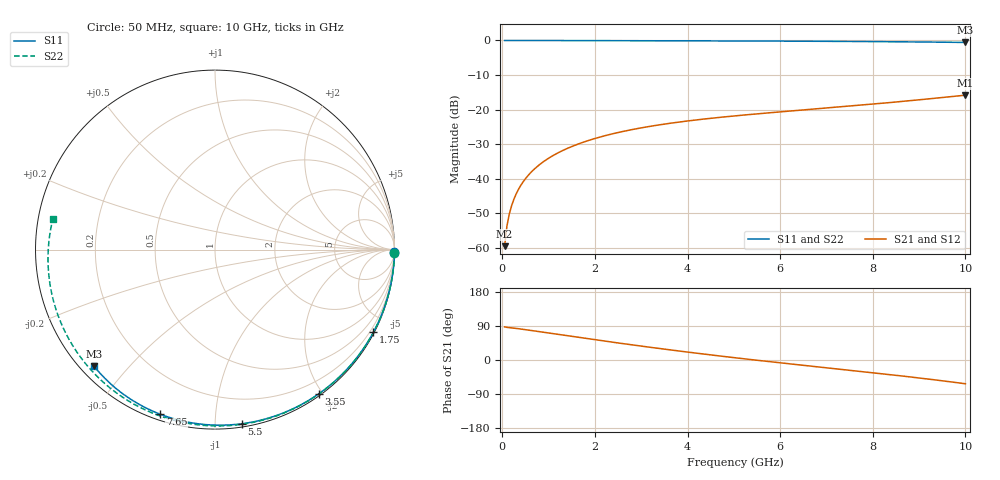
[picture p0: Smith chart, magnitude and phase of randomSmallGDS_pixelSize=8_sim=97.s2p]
! freq	dB(S11)	phase(S11)	dB(S12)	phase(S12)
!  dB(S21)	phase(S21)	dB(S22)	phase(S22)
!S-par simulation data
#  GHz  S  DB  R 50
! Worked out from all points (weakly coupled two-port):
!   200 points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, 50 MHz to 10 GHz, reference 50 ohm
!   highest |S21| = -15.85 dB at 10 GHz (marker M1); lowest = -59.5 dB at 50 MHz (marker M2)
!   lowest |S11| = -0.6 dB at 10 GHz (marker M3), VSWR 30.20, Z = 1.92 - j20.1 ohm
!   |S11| at or under -10 dB: nowhere
!   |S22| runs from -0.7 to 0.0 dB; largest |S21 - S12| = 0
!   S11 on the Smith chart (normalised r, x): 50 MHz: open; 1.75 GHz: 0.04, -4.09; 3.55 GHz: 0.02, -1.95; 5.5 GHz: 0.02, -1.16; 7.65 GHz: 0.03, -0.72; 10 GHz: 0.04, -0.40
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0.05  -0.00 -0.8  -59.55 87.3  -59.55 87.3  -0.00 -1.1
0.1  -0.00 -1.6  -53.72 86.1  -53.72 86.1  -0.00 -2.1
0.15  -0.00 -2.4  -50.31 85.5  -50.31 85.5  -0.00 -3.2
0.2  -0.00 -3.2  -47.87 84.8  -47.87 84.8  -0.00 -4.2
0.25  -0.00 -4.0  -45.97 84.1  -45.97 84.1  -0.00 -5.3
0.35  -0.00 -5.6  -43.08 82.6  -43.08 82.6  -0.01 -7.4
0.5  -0.01 -8.0  -40.02 80.1  -40.02 80.1  -0.01 -10.6
0.7  -0.01 -11.1  -37.13 76.6  -37.13 76.6  -0.02 -14.8
1  -0.02 -15.8  -34.09 71.2  -34.09 71.2  -0.03 -21.0
1.35  -0.03 -21.3  -31.57 65.0  -31.57 65.0  -0.04 -28.3
1.75  -0.04 -27.5  -29.44 57.9  -29.44 57.9  -0.05 -36.4
2.6  -0.06 -40.4  -26.35 43.3  -26.35 43.3  -0.08 -53.4
3.4  -0.08 -52.2  -24.41 30.2  -24.41 30.2  -0.11 -68.9
3.55  -0.09 -54.4  -24.11 27.9  -24.11 27.9  -0.11 -71.7
4.3  -0.11 -65.0  -22.83 16.4  -22.83 16.4  -0.14 -85.6
5.05  -0.14 -75.3  -21.80 5.6  -21.80 5.6  -0.18 -99.1
5.5  -0.16 -81.3  -21.25 -0.7  -21.25 -0.7  -0.20 -107.1
6.7  -0.23 -96.7  -19.90 -16.6  -19.90 -16.6  -0.29 -128.1
7.65  -0.30 -108.4  -18.83 -29.0  -18.83 -29.0  -0.38 -144.8
8.35  -0.36 -116.8  -18.00 -38.3  -18.00 -38.3  -0.46 -157.5
9.2  -0.46 -126.8  -16.92 -50.3  -16.92 -50.3  -0.59 -173.9
10  -0.58 -136.1  -15.85 -62.7  -15.85 -62.7  -0.73 169.3
